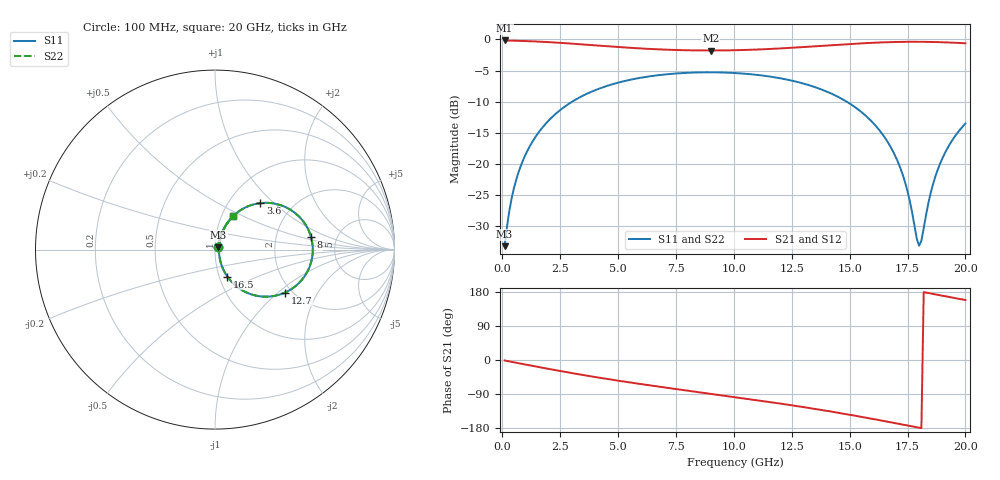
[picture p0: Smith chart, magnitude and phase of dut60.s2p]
! Touchstone file exported from HFSS 2026.1.0
!  File:  C:/ffzhzh/LocalFiles/Ansys_Project_Files/temp_train_TSV_RDL_60_1782968196_45748.aedt
!  Generated:  01:06:57 PM Jul  2, 2026
!  Design:  TSV_RDL
!  Project:  temp_train_TSV_RDL_60_1782968196_45748
! Variables:
!  h_bsmrdl = 3.3um
!  h_ox = 20um
!  h_rdl = 5um
!  h_sub = 72.43um
!  h_tmrdl = 3.23um
!  h_tsv = 72.43um
!  h_via = 3um
!  l_bsmrdl = 268.96um
!  l_sub = 3301.98um
!  l_tmrdl = 496.76um
!  m_sub = 200um
!  pitch = 51.93um
!  r_tsv = 10.89um
!  s_tmrdl = 10um
!  w_bsmrdl = 10.95um
!  w_sub = 500um
!  w_tmrdl = 25.07um
!  x_tsv_center1 = 509.295um
!  x_tsv_center2 = 789.205um
!  x_tsv_center3 = 1311.035um
!  x_tsv_center4 = 1590.945um
!  x_tsv_center5 = 2112.775um
!  x_tsv_center6 = 2392.685um
# GHz S MA R 50.000000
! Terminal data exported
! Port[1] = TM_RDL1_1_T1
! Port[2] = TM_RDL5_1_T1
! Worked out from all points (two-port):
!   200 points, 100 MHz to 20 GHz, reference 50 ohm
!   highest |S21| = -0.16 dB at 100 MHz (marker M1); lowest = -1.8 dB at 9 GHz (marker M2)
!   |S21| within 3 dB of the highest: start of sweep to end of sweep
!   lowest |S11| = -33.2 dB at 100 MHz (marker M3), VSWR 1.04, Z = 51.8 + j1.27 ohm
!   |S11| at or under -10 dB: start of sweep to 3.015 GHz; 14.88 GHz to end of sweep
!   |S22| runs from -33.2 to -5.3 dB; largest |S21 - S12| = 1.7e-14
!   S11 on the Smith chart (normalised r, x): 100 MHz: 1.04, +0.03; 3.6 GHz: 1.39, +0.83; 8 GHz: 3.21, +0.62; 12.7 GHz: 1.84, -1.12; 16.5 GHz: 1.09, -0.34; 20 GHz: 1.13, +0.44
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0.1  0.02186 34.1  0.9821 -1.3  0.9821 -1.3  0.02186 34.1
! Gamma 0 0 0 0
! Port Impedance 50 0 50 0
0.3  0.04166 59.1  0.9803 -3.7  0.9803 -3.7  0.04166 59.1
0.5  0.06362 65.4  0.978 -6.1  0.978 -6.1  0.06362 65.4
1.1  0.1293 67.1  0.9699 -13.2  0.9699 -13.2  0.1293 67.1
2.1  0.233 59.8  0.95 -24.6  0.95 -24.6  0.233 59.8
3.5  0.3549 46.6  0.9119 -39.7  0.9119 -39.7  0.3549 46.6
3.6  0.3624 45.6  0.909 -40.8  0.909 -40.8  0.3624 45.6
6.8  0.5182 17.1  0.8322 -70.7  0.8322 -70.7  0.5182 17.1
8  0.5399 7.3  0.8188 -80.8  0.8188 -80.8  0.5399 7.3
9  0.5449 -0.7  0.8155 -89.2  0.8155 -89.2  0.5448 -0.7
10.1  0.5369 -9.6  0.8201 -98.4  0.8201 -98.4  0.5368 -9.6
12.7  0.4579 -31.5  0.8622 -121.4  0.8622 -121.4  0.4578 -31.5
13.4  0.4204 -37.8  0.8791 -128.1  0.8791 -128.1  0.4203 -37.8
15.2  0.2889 -54.6  0.9241 -146.6  0.9241 -146.6  0.2888 -54.5
16.5  0.165 -65.5  0.949 -161.2  0.949 -161.2  0.165 -65.4
16.7  0.1443 -66.6  0.9516 -163.5  0.9516 -163.5  0.1443 -66.5
17.4  0.07077 -65.2  0.9575 -171.6  0.9575 -171.6  0.07082 -64.9
18  0.02204 -3.0  0.9582 -178.7  0.9582 -178.7  0.02238 -2.8
18.5  0.05834 61.9  0.9556 175.5  0.9556 175.5  0.05852 61.6
18.8  0.0894 66.4  0.9527 172.0  0.9527 172.0  0.08954 66.2
19.3  0.1415 66.1  0.9457 166.2  0.9457 166.2  0.1416 65.9
20  0.2112 61.3  0.9323 158.3  0.9323 158.3  0.2113 61.2
